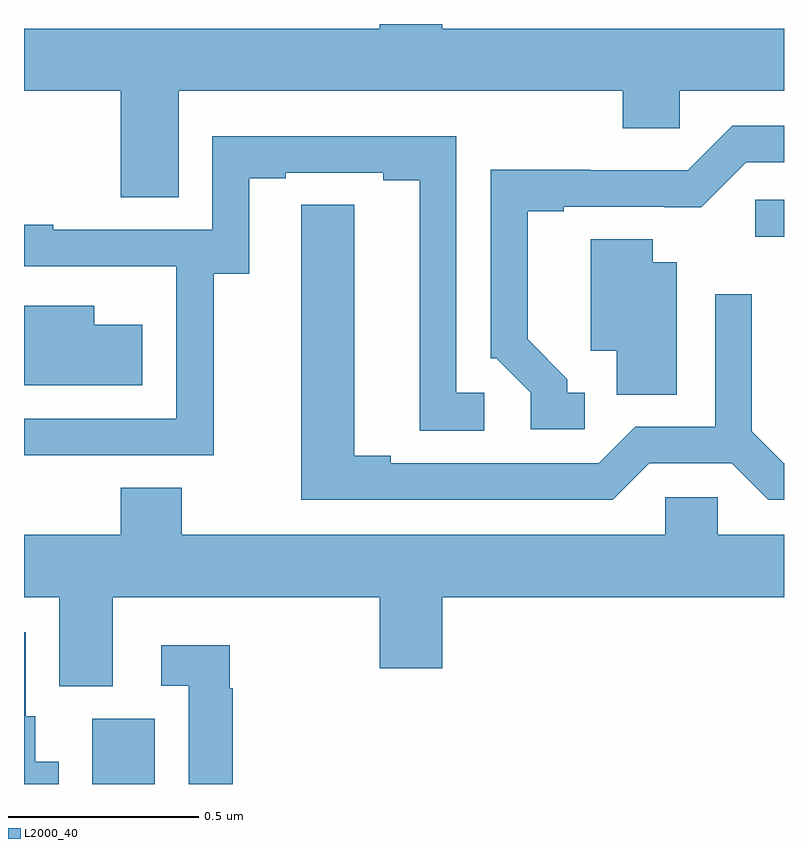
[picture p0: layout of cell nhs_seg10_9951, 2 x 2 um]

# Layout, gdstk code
import gdstk
lib = gdstk.Library(unit=1e-6, precision=1e-09)
def R(c, l, rs):  # rectangles x0, y0, x1, y1
    for r in rs: c.add(gdstk.rectangle(r[:2], r[2:], *l))
def P(c, l, *ps):  # polygons
    for p in ps: c.add(gdstk.Polygon(p, *l))
L2000_40 = (2000, 40)

nhs_seg10_9951 = lib.new_cell('nhs_seg10_9951')
R(nhs_seg10_9951, L2000_40, [(236.18,1290.5,236.344,1290.672), (237.924,1291.94,238,1292.037)])
P(nhs_seg10_9951, L2000_40, [(236.407,1292.324),(237.575,1292.324),(237.575,1292.226),(237.726,1292.226),(237.726,1292.324),(238,1292.324),(238,1292.488),(237.1,1292.488),(237.1,1292.5),(236.936,1292.5),(236.936,1292.488),(236,1292.488),(236,1292.324),(236.255,1292.324),(236.255,1292.044),(236.407,1292.044)],
  [(237.475,1291.53),(237.43,1291.53),(237.43,1291.565),(237.325,1291.67),(237.325,1292.007),(237.421,1292.007),(237.421,1292.019),(237.686,1292.019),(237.686,1292.018),(237.782,1292.018),(237.9,1292.136),(238,1292.136),(238,1292.232),(237.864,1292.232),(237.747,1292.115),(237.491,1292.115),(237.491,1292.117),(237.228,1292.117),(237.228,1291.62),(237.243,1291.62),(237.333,1291.53),(237.333,1291.434),(237.475,1291.434)],
  [(236.499,1291.843),(236.593,1291.843),(236.593,1292.094),(236.689,1292.094),(236.689,1292.109),(236.945,1292.109),(236.945,1292.089),(237.041,1292.089),(237.041,1291.429),(237.211,1291.429),(237.211,1291.53),(237.138,1291.53),(237.138,1292.205),(236.496,1292.205),(236.496,1291.959),(236.077,1291.959),(236.077,1291.972),(236,1291.972),(236,1291.863),(236.399,1291.863),(236.399,1291.862),(236.4,1291.862),(236.4,1291.461),(236,1291.461),(236,1291.365),(236.499,1291.365)],
  [(237.645,1291.344),(237.863,1291.344),(237.959,1291.248),(238,1291.248),(238,1291.344),(237.999,1291.344),(237.915,1291.428),(237.915,1291.789),(237.819,1291.789),(237.819,1291.44),(237.609,1291.44),(237.513,1291.344),(236.965,1291.344),(236.965,1291.364),(236.869,1291.364),(236.869,1292.024),(236.73,1292.024),(236.73,1291.916),(236.729,1291.916),(236.729,1291.248),(237.549,1291.248)],
  [(237.718,1291.873),(237.655,1291.873),(237.655,1291.934),(237.491,1291.934),(237.491,1291.64),(237.56,1291.64),(237.56,1291.525),(237.718,1291.525)],
  [(236.311,1291.708),(236.185,1291.708),(236.185,1291.759),(236,1291.759),(236,1291.55),(236.311,1291.55)],
  [(236.233,1290.992),(236.936,1290.992),(236.936,1290.804),(237.1,1290.804),(237.1,1290.992),(238,1290.992),(238,1291.156),(237.825,1291.156),(237.825,1291.254),(237.687,1291.254),(237.687,1291.156),(236.415,1291.156),(236.415,1291.28),(236.255,1291.28),(236.255,1291.156),(236,1291.156),(236,1290.992),(236.093,1290.992),(236.093,1290.757),(236.233,1290.757)],
  [(236.092,1290.559),(236.029,1290.559),(236.029,1290.678),(236.004,1290.678),(236.004,1290.9),(236,1290.9),(236,1290.5),(236.092,1290.5)],
  [(236.549,1290.752),(236.542,1290.752),(236.542,1290.865),(236.361,1290.865),(236.361,1290.759),(236.433,1290.759),(236.433,1290.5),(236.549,1290.5)])

lib.write_gds('nhs_seg10_9951.gds')
